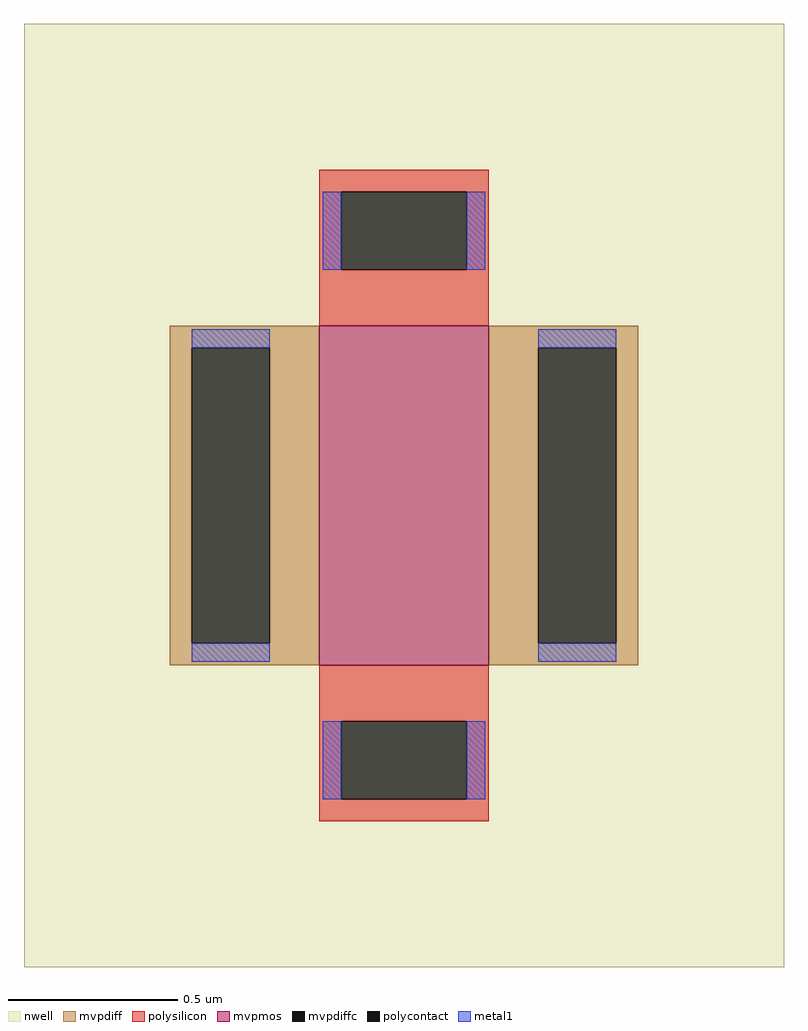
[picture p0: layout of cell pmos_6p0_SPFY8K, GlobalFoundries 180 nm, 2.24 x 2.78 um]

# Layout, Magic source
magic
tech gf180mcuC
magscale 1 10
<< nwell >>
rect -224 -278 224 278
<< mvpmos >>
rect -50 -100 50 100
<< mvpdiff >>
rect -138 87 -50 100
rect -138 -87 -125 87
rect -79 -87 -50 87
rect -138 -100 -50 -87
rect 50 87 138 100
rect 50 -87 79 87
rect 125 -87 138 87
rect 50 -100 138 -87
<< mvpdiffc >>
rect -125 -87 -79 87
rect 79 -87 125 87
<< polysilicon >>
rect -50 179 50 192
rect -50 133 -37 179
rect 37 133 50 179
rect -50 100 50 133
rect -50 -133 50 -100
rect -50 -179 -37 -133
rect 37 -179 50 -133
rect -50 -192 50 -179
<< polycontact >>
rect -37 133 37 179
rect -37 -179 37 -133
<< metal1 >>
rect -48 133 -37 179
rect 37 133 48 179
rect -125 87 -79 98
rect -125 -98 -79 -87
rect 79 87 125 98
rect 79 -98 125 -87
rect -48 -179 -37 -133
rect 37 -179 48 -133
<< properties >>
string gencell pmos_6p0
string library gf180mcu
string parameters w 1 l 0.5 m 1 nf 1 diffcov 100 polycov 100 guard 0 glc 0 grc 0 gtc 0 gbc 0 tbcov 100 rlcov 100 topc 1 botc 1 poverlap 0 doverlap 1 lmin 0.5 wmin 0.3 full_metal 0 compatible {pmos_3p3 pmos_6p0}
<< end >>
